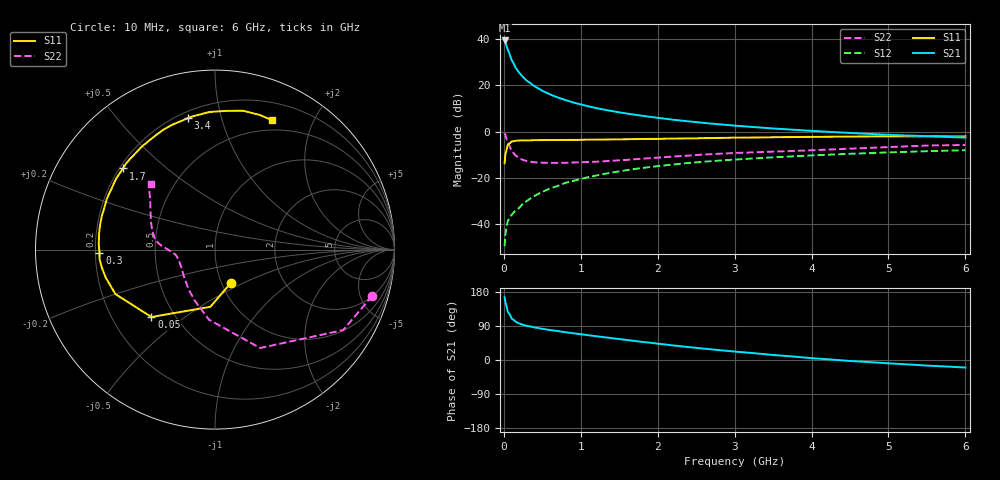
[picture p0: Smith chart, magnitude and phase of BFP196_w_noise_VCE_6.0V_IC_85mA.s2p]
! (c) 2017  Infineon Technologies AG, Munich
! Infineon Technologies  Discrete & RF Semiconductors
! BFP196
! VCE =  6.0 V,  IC =  85 mA
! Common Emitter S-Parameters:  Jan 2017
# GHz  S  MA  R  50
!  f  S11  S21  S12  S22
! GHz  MAG  ANG  MAG  ANG  MAG  ANG  MAG  ANG
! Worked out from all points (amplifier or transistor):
!   77 points, 10 MHz to 6 GHz, reference 50 ohm
!   highest |S21| = 39.4 dB at 10 MHz (marker M1)
!   |S21| within 3 dB of that: start of sweep to 41.19 MHz
!   unconditionally stable (mu >= 1): 454.3 MHz to 2.454 GHz
!   at 130 MHz: K = 0.72, MSG = 32.1 dB, |S12| = -34.9 dB
!   at 2.2 GHz: K = 1.01, MAG = 9.1 dB, |S12| = -14.3 dB
!   at 6 GHz: K = 0.95, MSG = 2.7 dB, |S12| = -8.1 dB
!   lowest NFmin = 1.85 dB at 450 MHz
!   S11 on the Smith chart (normalised r, x): 10 MHz: 1.11, -0.43; 50 MHz: 0.37, -0.38; 300 MHz: 0.22, -0.01; 1.7 GHz: 0.21, +0.36; 3.4 GHz: 0.24, +0.78; 6 GHz: 0.38, +1.46
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0.01  0.2057 -64.7  93.43 165.4  0.0033 79.9  0.913 -16.4
0.02  0.32 -94.7  86.64 152.8  0.0059 71.6  0.8434 -32.1
0.05  0.5162 -133.3  59.76 127.2  0.0113 56.2  0.603 -65.4
0.1  0.6076 -155.9  35.45 109.4  0.0156 58.0  0.3919 -94.9
0.15  0.6287 -165.7  24.52 101.4  0.0194 58.6  0.3048 -112.0
0.2  0.6388 -171.2  18.66 96.5  0.0223 63.2  0.2649 -123.9
0.25  0.6452 -175.3  15.02 92.8  0.0275 65.1  0.2422 -132.1
0.3  0.6438 -178.3  12.56 90.2  0.0314 67.1  0.2291 -139.0
0.4  0.6486 177.0  9.501 85.9  0.0406 68.9  0.2157 -148.1
0.5  0.6516 172.9  7.608 82.3  0.0493 69.0  0.211 -154.4
0.6  0.6538 169.5  6.368 79.1  0.0587 69.4  0.2103 -159.2
0.7  0.6556 166.6  5.461 76.4  0.0662 69.4  0.2088 -162.6
0.8  0.6579 163.4  4.788 73.3  0.0774 68.8  0.2103 -165.2
1.1  0.6656 154.9  3.506 65.4  0.1031 65.8  0.2191 -171.1
1.4  0.6739 146.6  2.783 57.7  0.1288 61.9  0.2329 -175.4
1.7  0.6835 138.6  2.311 50.3  0.1546 58.0  0.2513 -178.3
2.1  0.6977 128.4  1.888 40.9  0.1854 52.2  0.2795 177.7
3.1  0.737 107.2  1.303 20.6  0.2527 38.4  0.3473 167.9
3.4  0.747 101.8  1.197 15.2  0.2702 34.7  0.3615 164.0
4.1  0.7681 90.8  1.011 3.5  0.3087 26.1  0.3989 153.8
5.1  0.7888 77.2  0.836 -9.9  0.3572 14.3  0.4673 140.9
6  0.7882 66.3  0.739 -19.9  0.3943 4.3  0.5119 134.3
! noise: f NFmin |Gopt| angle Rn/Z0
0.45  1.85  0.51  -169  0.06
0.9  2.01  0.54  -157  0.1
1.9  2.88  0.7  -129  0.43
2.4  3.28  0.7  -116  0.89
